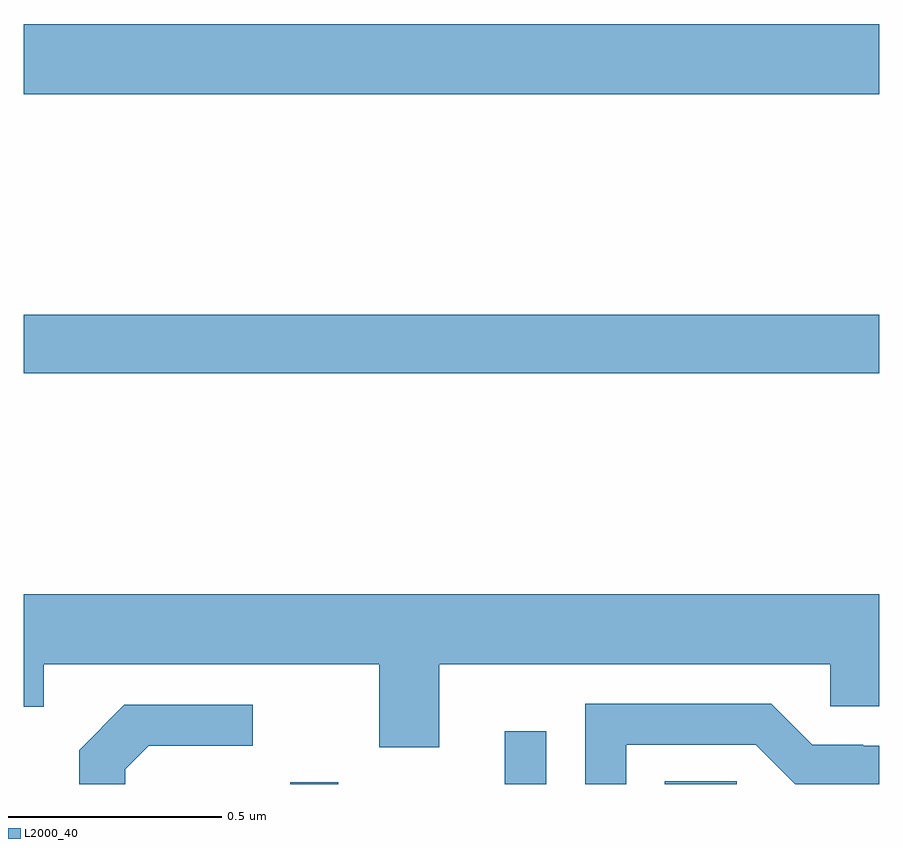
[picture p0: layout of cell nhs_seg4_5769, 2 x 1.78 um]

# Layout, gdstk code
import gdstk
lib = gdstk.Library(unit=1e-6, precision=1e-09)
def R(c, l, rs):  # rectangles x0, y0, x1, y1
    for r in rs: c.add(gdstk.rectangle(r[:2], r[2:], *l))
def P(c, l, *ps):  # polygons
    for p in ps: c.add(gdstk.Polygon(p, *l))
L2000_40 = (2000, 40)

nhs_seg4_5769 = lib.new_cell('nhs_seg4_5769')
R(nhs_seg4_5769, L2000_40, [(182.623,769.9,182.735,769.904), (183.125,769.9,183.221,770.023), (183.498,769.9,183.667,769.907), (182,770.86,184,770.996), (182,771.512,184,771.676)])
P(nhs_seg4_5769, L2000_40, [(182.971,770.18),(183.885,770.18),(183.885,770.082),(184,770.082),(184,770.344),(182,770.344),(182,770.081),(182.047,770.081),(182.047,770.18),(182.831,770.18),(182.831,769.986),(182.971,769.986)],
  [(183.408,769.992),(183.711,769.992),(183.803,769.9),(184,769.9),(184,769.989),(183.962,769.989),(183.962,769.992),(183.843,769.992),(183.747,770.088),(183.312,770.088),(183.312,769.9),(183.408,769.9)],
  [(182.238,769.935),(182.292,769.989),(182.536,769.989),(182.536,770.085),(182.235,770.085),(182.13,769.979),(182.13,769.9),(182.238,769.9)])

lib.write_gds('nhs_seg4_5769.gds')
